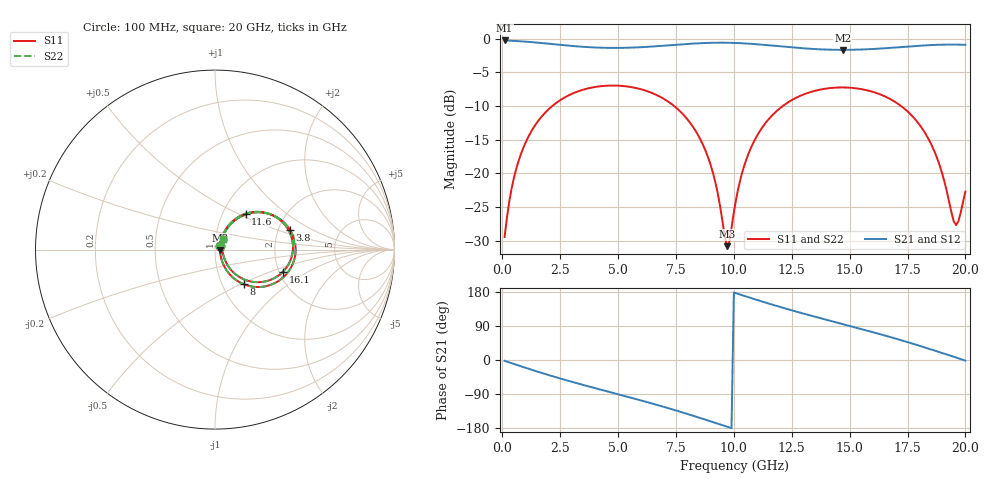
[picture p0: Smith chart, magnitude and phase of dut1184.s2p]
! Touchstone file exported from HFSS 2026.1.0
!  File:  C:/ffzhzh/LocalFiles/Ansys_Project_Files/temp_train_TSV_RDL_1184_1783316110_39728.aedt
!  Generated:  01:47:00 PM Jul  6, 2026
!  Design:  TSV_RDL
!  Project:  temp_train_TSV_RDL_1184_1783316110_39728
! Variables:
!  h_bsmrdl = 4.08um
!  h_ox = 20um
!  h_rdl = 5um
!  h_sub = 64.89um
!  h_tmrdl = 5.87um
!  h_tsv = 64.89um
!  h_via = 3um
!  l_bsmrdl = 899.49um
!  l_sub = 6272.57um
!  l_tmrdl = 770.59um
!  m_sub = 200um
!  pitch = 33.42um
!  r_tsv = 9.78um
!  s_tmrdl = 10um
!  w_bsmrdl = 16.04um
!  w_sub = 500um
!  w_tmrdl = 14.54um
!  x_tsv_center1 = 777.86um
!  x_tsv_center2 = 1693.39um
!  x_tsv_center3 = 2478.52um
!  x_tsv_center4 = 3394.05um
!  x_tsv_center5 = 4179.18um
!  x_tsv_center6 = 5094.71um
# GHz S MA R 50.000000
! Terminal data exported
! Port[1] = TM_RDL1_1_T1
! Port[2] = TM_RDL5_1_T1
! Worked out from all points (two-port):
!   200 points, 100 MHz to 20 GHz, reference 50 ohm
!   highest |S21| = -0.25 dB at 100 MHz (marker M1); lowest = -1.6 dB at 14.7 GHz (marker M2)
!   |S21| within 3 dB of the highest: start of sweep to end of sweep
!   lowest |S11| = -30.8 dB at 9.7 GHz (marker M3), VSWR 1.06, Z = 52.9 - j0.351 ohm
!   |S11| at or under -10 dB: start of sweep to 2.157 GHz; 7.422 GHz to 12.11 GHz (4.689 GHz wide, 48 % of centre); 17.22 GHz to end of sweep
!   |S22| runs from -30.8 to -7.0 dB; largest |S21 - S12| = 1.7e-14
!   S11 on the Smith chart (normalised r, x): 100 MHz: 1.06, +0.04; 3.8 GHz: 2.31, +0.63; 8 GHz: 1.26, -0.52; 11.6 GHz: 1.28, +0.55; 16.1 GHz: 2.10, -0.61; 20 GHz: 1.09, +0.13
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0.1  0.03361 31.6  0.9719 -2.2  0.9719 -2.2  0.03361 31.6
! Gamma 0 0 0 0
! Port Impedance 50 0 50 0
0.5  0.09215 59.5  0.9647 -10.4  0.9647 -10.4  0.09215 59.5
1.2  0.1974 55.7  0.9469 -24.5  0.9469 -24.5  0.1974 55.7
2.2  0.3208 40.4  0.9117 -43.4  0.9117 -43.4  0.3208 40.4
3.5  0.4187 19.6  0.8713 -66.0  0.8713 -66.0  0.4187 19.6
3.8  0.4315 15.0  0.8651 -70.9  0.8651 -70.9  0.4315 15.0
5.3  0.444 -8.0  0.857 -95.3  0.857 -95.3  0.444 -8.0
6.8  0.372 -31.4  0.8838 -120.5  0.8838 -120.5  0.3719 -31.3
8  0.2513 -50.3  0.9157 -142.5  0.9157 -142.5  0.2513 -50.2
9  0.115 -61.2  0.9335 -162.0  0.9335 -162.0  0.115 -61.1
9.7  0.02873 -6.6  0.9348 -175.9  0.9348 -175.9  0.02881 -6.5
10.1  0.06454 57.2  0.9308 176.1  0.9308 176.1  0.06461 57.1
10.7  0.1493 61.0  0.9188 164.3  0.9188 164.3  0.1493 61.0
11.6  0.2635 49.5  0.8922 147.2  0.8922 147.2  0.2635 49.5
13.4  0.4061 22.1  0.8408 115.9  0.8408 115.9  0.4061 22.1
14.7  0.4349 2.8  0.8273 94.8  0.8273 94.8  0.4349 2.8
16.1  0.3984 -18.0  0.8414 71.8  0.8414 71.8  0.3984 -17.9
16.7  0.3605 -27.0  0.8547 61.5  0.8547 61.5  0.3605 -26.9
18.4  0.1808 -50.1  0.896 30.2  0.896 30.2  0.1808 -50.0
18.9  0.1129 -51.2  0.9032 20.4  0.9032 20.4  0.1129 -51.1
19.6  0.04123 4.5  0.9052 6.5  0.9052 6.5  0.04129 4.6
20  0.07324 52.3  0.9019 -1.5  0.9019 -1.5  0.07332 52.3
